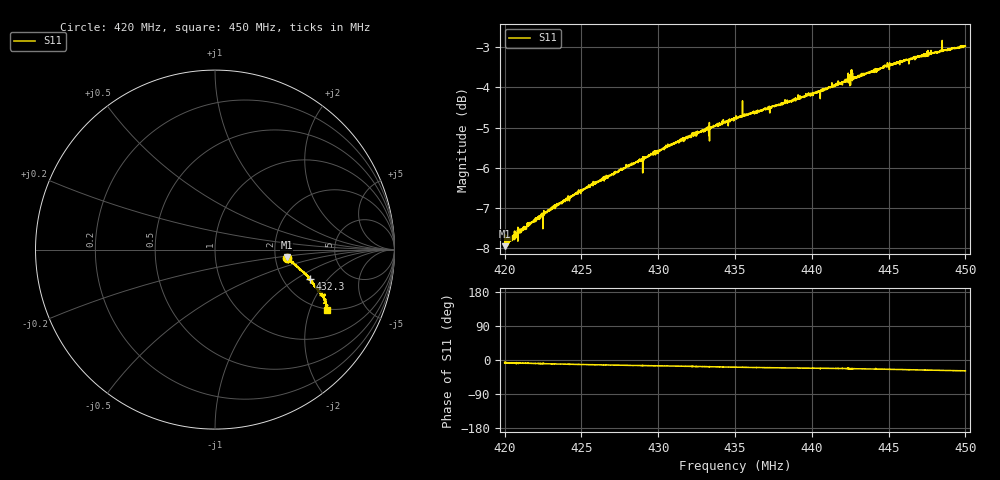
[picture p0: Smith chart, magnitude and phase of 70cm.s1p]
! Calibrated averaged scanner-service zoom
# Hz S RI R 50
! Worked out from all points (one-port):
!   3001 points, 420 MHz to 450 MHz, reference 50 ohm
!   lowest |S11| = -7.9 dB at 420 MHz (marker M1), VSWR 2.34, Z = 115 - j11.9 ohm
!   |S11| at or under -10 dB: nowhere
!   S11 on the Smith chart (normalised r, x): 420 MHz: 2.31, -0.27; 432.3 MHz: 2.80, -1.32; 450 MHz: 1.93, -2.64
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4.2e8  0.4007 -0.0495
4.2001e8  0.3984 -0.0433
4.2034e8  0.4028 -0.0557
4.2102e8  0.4136 -0.0581
4.2262e8  0.4347 -0.0732
4.231e8  0.4382 -0.0801
4.2375e8  0.4468 -0.0855
4.275e8  0.4846 -0.1186
4.3125e8  0.5187 -0.1506
4.3234e8  0.5304 -0.1633
4.3311e8  0.5342 -0.1699
4.3332e8  0.5286 -0.1714
4.3371e8  0.538 -0.1745
4.35e8  0.5452 -0.1883
4.3548e8  0.5489 -0.1927
4.3714e8  0.5581 -0.204
4.3875e8  0.569 -0.2182
4.3976e8  0.575 -0.2255
4.4044e8  0.5777 -0.2319
4.4225e8  0.5911 -0.2501
4.4238e8  0.5933 -0.249
4.425e8  0.5961 -0.2484
4.432e8  0.6028 -0.2582
4.4431e8  0.6065 -0.2696
4.4478e8  0.6126 -0.2766
4.4625e8  0.6163 -0.2948
4.4766e8  0.6214 -0.3137
4.5e8  0.6237 -0.339
